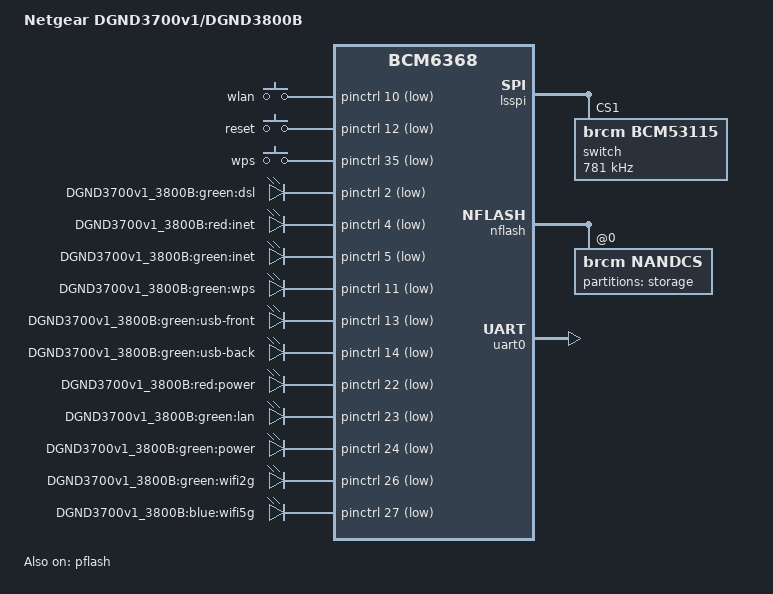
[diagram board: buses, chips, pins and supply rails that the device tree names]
/dts-v1/;

#include "bcm6368.dtsi"

#include <dt-bindings/input/input.h>

/ {
	model = "Netgear DGND3700v1/DGND3800B";
	compatible = "netgear,dgnd3700-v1", "brcm,bcm6368";

	aliases {
		led-boot = &led_power_green;
		led-failsafe = &led_power_green;
		led-running = &led_power_green;
		led-upgrade = &led_power_green;
	};

	chosen {
		bootargs = "rootfstype=squashfs,jffs2 noinitrd console=ttyS0,115200";
		stdout-path = "serial0:115200n8";
	};

	keys {
		compatible = "gpio-keys-polled";
		#address-cells = <1>;
		#size-cells = <0>;
		poll-interval = <20>;

		wlan {
			label = "wlan";
			gpios = <&pinctrl 10 1>;
			linux,code = <KEY_WLAN>;
			debounce-interval = <60>;
		};

		reset {
			label = "reset";
			gpios = <&pinctrl 12 1>;
			linux,code = <KEY_RESTART>;
			debounce-interval = <60>;
		};

		wps {
			label = "wps";
			gpios = <&pinctrl 35 1>;
			linux,code = <KEY_WPS_BUTTON>;
			debounce-interval = <60>;
		};
	};

	leds {
		compatible = "gpio-leds";

		dsl_green {
			label = "DGND3700v1_3800B:green:dsl";
			gpios = <&pinctrl 2 1>;
		};
		inet_red {
			label = "DGND3700v1_3800B:red:inet";
			gpios = <&pinctrl 4 1>;
		};
		inet_green {
			label = "DGND3700v1_3800B:green:inet";
			gpios = <&pinctrl 5 1>;
		};
		wps_green {
			label = "DGND3700v1_3800B:green:wps";
			gpios = <&pinctrl 11 1>;
		};
		usbfront_green {
			label = "DGND3700v1_3800B:green:usb-front";
			gpios = <&pinctrl 13 1>;
		};
		usbback_green {
			label = "DGND3700v1_3800B:green:usb-back";
			gpios = <&pinctrl 14 1>;
		};
		power_red {
			label = "DGND3700v1_3800B:red:power";
			gpios = <&pinctrl 22 1>;
		};
		lan_green {
			label = "DGND3700v1_3800B:green:lan";
			gpios = <&pinctrl 23 1>;
		};
		led_power_green: power_green {
			label = "DGND3700v1_3800B:green:power";
			gpios = <&pinctrl 24 1>;
			default-state = "on";
		};
		wifi2g_green {
			label = "DGND3700v1_3800B:green:wifi2g";
			gpios = <&pinctrl 26 1>;
		};
		wifi5g_blue {
			label = "DGND3700v1_3800B:blue:wifi5g";
			gpios = <&pinctrl 27 1>;
		};
	};
};

&pflash {
	status = "okay";

	partitions {
		compatible = "fixed-partitions";
		#address-cells = <1>;
		#size-cells = <1>;

		cfe@0 {
			label = "CFE";
			reg = <0x000000 0x020000>;
			read-only;
		};

		linux@20000 {
			label = "linux";
			reg = <0x020000 0x1e20000>;
			compatible = "brcm,bcm963xx-imagetag";
		};

		board_data@1e40000 {
			label = "board_data";
			reg = <0x1e40000 0x1a0000>;
			read-only;
		};

		nvram@1fe0000 {
			label = "nvram";
			reg = <0x1fe0000 0x20000>;
		};
	};
};

&pinctrl {
	pinctrl-names = "default";
	pinctrl-0 = <&pinctrl_pci>;
};

&lsspi {
	switch@1 {
		compatible = "brcm,bcm53115";
		reg = <1>;
		spi-max-frequency = <781000>;

		lede,alias = "eth0";

		ports {
			#address-cells = <1>;
			#size-cells = <0>;

			wan@0 {
				reg = <0>;
				label = "wan";
			};

			lan@1 {
				reg = <1>;
				label = "lan4";
			};

			lan@2 {
				reg = <2>;
				label = "lan3";
			};

			lan@3 {
				reg = <3>;
				label = "lan2";
			};

			lan@4 {
				reg = <4>;
				label = "lan1";
			};

			cpu@8 {
				reg = <8>;
				label = "cpu";

				fixed-link {
					speed = <1000>;
					full-duplex;
				};
			};
		};
	};
};

&nflash {
	status = "okay";

	nandcs@0 {
		compatible = "brcm,nandcs";
		#size-cells = <1>;
		#address-cells = <1>;
		reg = <0>;
		nand-ecc-step-size = <512>;
		nand-ecc-strength = <15>;
		nand-on-flash-bbt;
		brcm,nand-oob-sector-size = <64>;

		partitions {
			compatible = "fixed-partitions";
			#address-cells = <1>;
			#size-cells = <1>;

			partition@0 {
				label = "storage";
				reg = <0x0000000 0x8000000>;
			};
		};
	};
};

&uart0 {
	status = "okay";
};
